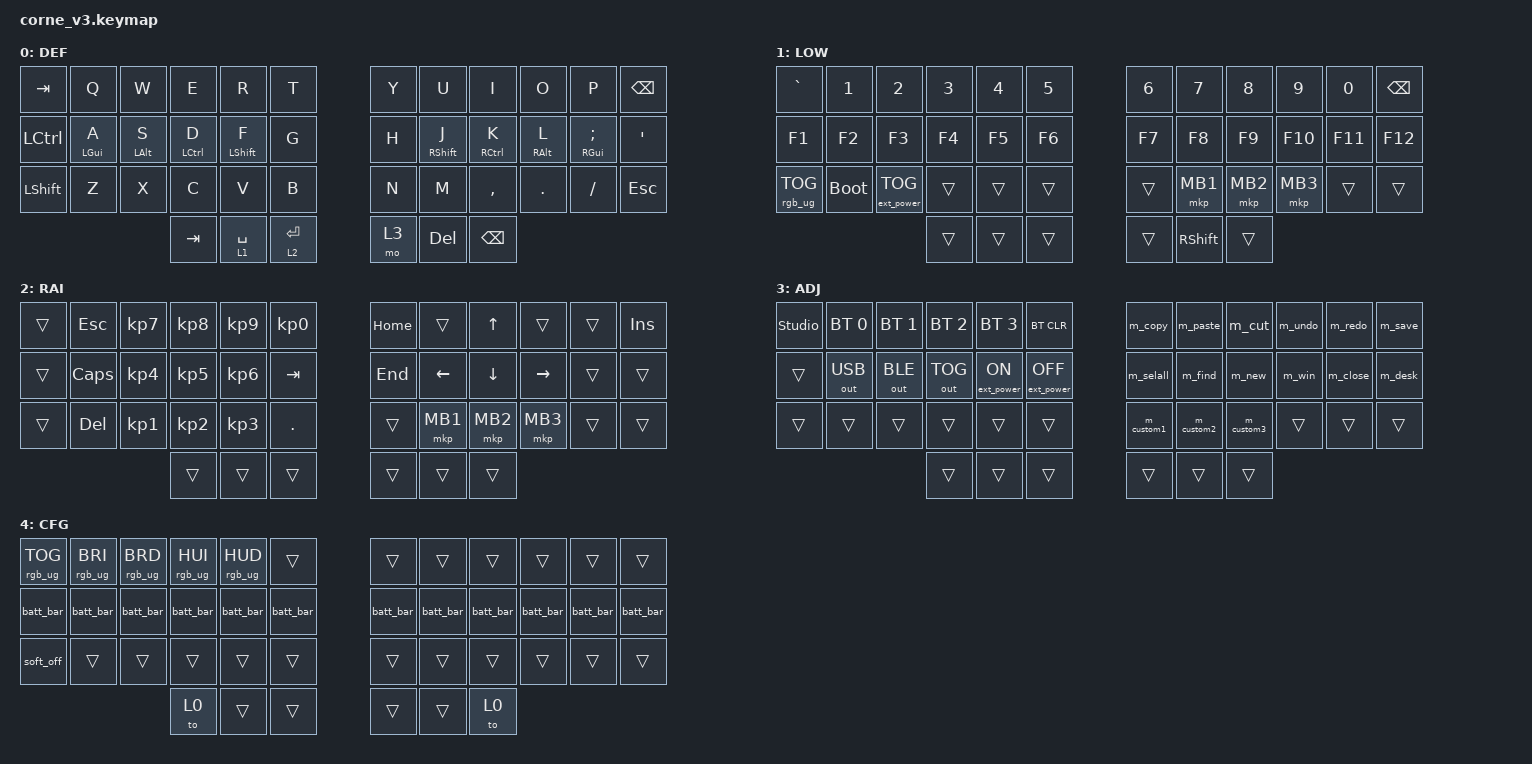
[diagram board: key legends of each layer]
/*
 * Copyright (c) 2020 The ZMK Contributors
 *
 * SPDX-License-Identifier: MIT
 */

#include <behaviors.dtsi>
#include <dt-bindings/zmk/bt.h>
#include <dt-bindings/zmk/keys.h>
#include <dt-bindings/zmk/rgb.h>
#include <dt-bindings/zmk/ext_power.h>
#include <dt-bindings/zmk/mouse.h>
#include <dt-bindings/zmk/outputs.h>

/ {
    behaviors {
        hm: homerow_mods {
            compatible = "zmk,behavior-hold-tap";
            label = "HOMEROW_MODS";
            #binding-cells = <2>;
            tapping-term-ms = <200>;
            quick_tap_ms = <0>;
            flavor = "tap-preferred";
            bindings = <&kp>, <&kp>;

            quick-tap-ms = <180>;
            global-quick-tap;
        };

        ltq: ltq {
            compatible = "zmk,behavior-hold-tap";
            label = "LTQ";
            bindings = <&mo>, <&kp>;

            #binding-cells = <2>;
            tapping-term-ms = <600>;
            global-quick-tap;
            quick-tap-ms = <400>;
        };

        /* Local battery % as green middle-row LED bar (map in batt_bar.c). */
        batt_bar: batt_bar {
            compatible = "corne,behavior-batt-bar";
            #binding-cells = <0>;
            hold-ms = <2500>;
        };

        /* Central→right: layer/USB/BTn + ACTIVE (wakes right idle; poke only on right) */
        st_sync: st_sync {
            compatible = "corne,behavior-status-sync";
            #binding-cells = <1>;
        };
    };

    /*
     * ADJ right-half macros — edit bindings here, then flash LEFT.
     * Guide: docs/12-macros.md
     */
    macros {
        m_copy: m_copy {
            compatible = "zmk,behavior-macro";
            #binding-cells = <0>;
            bindings
                = <&macro_press &kp LCTRL>
                , <&macro_tap &kp C>
                , <&macro_release &kp LCTRL>
                ;
        };
        m_paste: m_paste {
            compatible = "zmk,behavior-macro";
            #binding-cells = <0>;
            bindings
                = <&macro_press &kp LCTRL>
                , <&macro_tap &kp V>
                , <&macro_release &kp LCTRL>
                ;
        };
        m_cut: m_cut {
            compatible = "zmk,behavior-macro";
            #binding-cells = <0>;
            bindings
                = <&macro_press &kp LCTRL>
                , <&macro_tap &kp X>
                , <&macro_release &kp LCTRL>
                ;
        };
        m_undo: m_undo {
            compatible = "zmk,behavior-macro";
            #binding-cells = <0>;
            bindings
                = <&macro_press &kp LCTRL>
                , <&macro_tap &kp Z>
                , <&macro_release &kp LCTRL>
                ;
        };
        m_redo: m_redo {
            compatible = "zmk,behavior-macro";
            #binding-cells = <0>;
            bindings
                = <&macro_press &kp LCTRL>
                , <&macro_press &kp LSHFT>
                , <&macro_tap &kp Z>
                , <&macro_release &kp LSHFT>
                , <&macro_release &kp LCTRL>
                ;
        };
        m_save: m_save {
            compatible = "zmk,behavior-macro";
            #binding-cells = <0>;
            bindings
                = <&macro_press &kp LCTRL>
                , <&macro_tap &kp S>
                , <&macro_release &kp LCTRL>
                ;
        };
        m_selall: m_selall {
            compatible = "zmk,behavior-macro";
            #binding-cells = <0>;
            bindings
                = <&macro_press &kp LCTRL>
                , <&macro_tap &kp A>
                , <&macro_release &kp LCTRL>
                ;
        };
        m_find: m_find {
            compatible = "zmk,behavior-macro";
            #binding-cells = <0>;
            bindings
                = <&macro_press &kp LCTRL>
                , <&macro_tap &kp F>
                , <&macro_release &kp LCTRL>
                ;
        };
        m_new: m_new {
            compatible = "zmk,behavior-macro";
            #binding-cells = <0>;
            bindings
                = <&macro_press &kp LCTRL>
                , <&macro_tap &kp N>
                , <&macro_release &kp LCTRL>
                ;
        };
        m_win: m_win {
            compatible = "zmk,behavior-macro";
            #binding-cells = <0>;
            bindings
                = <&macro_press &kp LGUI>
                , <&macro_tap &kp TAB>
                , <&macro_release &kp LGUI>
                ;
        };
        m_close: m_close {
            compatible = "zmk,behavior-macro";
            #binding-cells = <0>;
            bindings
                = <&macro_press &kp LALT>
                , <&macro_tap &kp F4>
                , <&macro_release &kp LALT>
                ;
        };
        m_desk: m_desk {
            compatible = "zmk,behavior-macro";
            #binding-cells = <0>;
            bindings
                = <&macro_press &kp LGUI>
                , <&macro_tap &kp D>
                , <&macro_release &kp LGUI>
                ;
        };
        /* Placeholders — replace bindings with your own (see docs/12-macros.md) */
        m_custom1: m_custom1 {
            compatible = "zmk,behavior-macro";
            #binding-cells = <0>;
            bindings = <&macro_tap &kp F13>;
        };
        m_custom2: m_custom2 {
            compatible = "zmk,behavior-macro";
            #binding-cells = <0>;
            bindings = <&macro_tap &kp F14>;
        };
        m_custom3: m_custom3 {
            compatible = "zmk,behavior-macro";
            #binding-cells = <0>;
            bindings = <&macro_tap &kp F15>;
        };
    };

    combos {
        compatible = "zmk,combos";

        left_bkt {
            bindings = <&kp LEFT_BRACKET>;
            key-positions = <4 3>;
            timeout-ms = <50>;
        };

        right_bkt {
            bindings = <&kp RBKT>;
            key-positions = <7 8>;
            timeout-ms = <50>;
        };

        left_par {
            bindings = <&kp LEFT_PARENTHESIS>;
            key-positions = <15 16>;
            timeout-ms = <50>;
        };

        right_par {
            bindings = <&kp RIGHT_PARENTHESIS>;
            key-positions = <19 20>;
            timeout-ms = <50>;
        };

        left_brace {
            bindings = <&kp LEFT_BRACE>;
            key-positions = <27 28>;
            timeout-ms = <50>;
        };

        right_brace {
            bindings = <&kp RIGHT_BRACE>;
            key-positions = <32 31>;
            timeout-ms = <50>;
        };

        bac {
            bindings = <&kp BACKSLASH>;
            key-positions = <5 6>;
        };

        pipe {
            bindings = <&kp PIPE>;
            key-positions = <17 18>;
        };

        /*
         * CFG layer: outer thumbs on both halves (positions 36 + 41).
         * Same combo toggles CFG off. Hard to hit by accident.
         */
        cfg_combo {
            bindings = <&tog 4>;
            key-positions = <36 41>;
            timeout-ms = <120>;
        };

        /*
         * RAI sticky toggle (like CFG): Enter thumb (38) + pos 40 (DEL on DEF).
         * Momentary RAI still via &lt 2 ENTER.
         */
        rai_combo {
            bindings = <&tog 2>;
            key-positions = <38 40>;
            timeout-ms = <120>;
        };
    };

    keymap {
        compatible = "zmk,keymap";

        default_layer {
            display-name = "DEF";
            bindings = <
&kp TAB    &kp Q           &kp W           &kp E        &kp R             &kp T        &kp Y  &kp U             &kp I          &kp O            &kp P               &kp BSPC
&kp LCTRL  &hm LEFT_GUI A  &hm LEFT_ALT S  &hm LCTRL D  &hm LEFT_SHIFT F  &kp G        &kp H  &hm RSHIFT J      &hm RCTRL K    &hm RIGHT_ALT L  &hm RGUI SEMICOLON  &kp SQT
&kp LSHFT  &kp Z           &kp X           &kp C        &kp V             &kp B        &kp N  &kp M             &kp COMMA      &kp DOT          &kp FSLH            &kp ESC
                                           &kp TAB      &lt 1 SPACE       &lt 2 ENTER  &mo 3  &kp DELETE        &kp BACKSPACE
            >;
        };

        lower_layer {
            display-name = "LOW";
            /* Top: grave above F1; middle: F1–F12; under F1: RGB_TOG */
            bindings = <
&kp GRAVE  &kp N1  &kp N2  &kp N3  &kp N4  &kp N5   &kp N6  &kp N7  &kp N8  &kp N9  &kp N0  &kp BSPC
&kp F1     &kp F2  &kp F3  &kp F4  &kp F5  &kp F6   &kp F7  &kp F8  &kp F9  &kp F10 &kp F11 &kp F12
&rgb_ug RGB_TOG  &bootloader  &ext_power EP_TOG  &trans  &trans  &trans
    &trans  &mkp MB1  &mkp MB2  &mkp MB3  &trans  &trans
                             &trans  &trans  &trans   &trans  &kp RIGHT_SHIFT  &trans
            >;
        };

        raise_layer {
            display-name = "RAI";
            /* Hold Enter = momentary; combo 38+40 = sticky. Pos 11 = Insert.
             * Trackball scrolls on this layer (corne_v3_left.overlay). */
            bindings = <
&trans  &kp ESC     &kp KP_NUMBER_7  &kp KP_NUMBER_8  &kp KP_NUMBER_9  &kp KP_NUMBER_0  &kp HOME  &trans    &kp UP    &trans     &trans  &kp INSERT
&trans  &kp CAPS    &kp KP_NUMBER_4  &kp KP_NUMBER_5  &kp KP_NUMBER_6  &kp TAB           &kp END   &kp LEFT  &kp DOWN  &kp RIGHT  &trans  &trans
&trans  &kp DELETE  &kp KP_NUMBER_1  &kp KP_NUMBER_2  &kp KP_NUMBER_3  &kp DOT          &trans    &mkp MB1  &mkp MB2  &mkp MB3   &trans  &trans
                                     &trans           &trans           &trans           &trans    &trans    &trans
            >;
        };

        layer_3 {
            display-name = "ADJ";
            /* Left: BT/USB/power/Studio. Right: macros (docs/12-macros.md). */
            bindings = <
&studio_unlock  &bt BT_SEL 0  &bt BT_SEL 1  &bt BT_SEL 2  &bt BT_SEL 3  &bt BT_CLR
    &m_copy  &m_paste  &m_cut  &m_undo  &m_redo  &m_save
&trans  &out OUT_USB  &out OUT_BLE  &out OUT_TOG  &ext_power EP_ON  &ext_power EP_OFF
    &m_selall  &m_find  &m_new  &m_win  &m_close  &m_desk
&trans  &trans  &trans  &trans  &trans  &trans
    &m_custom1  &m_custom2  &m_custom3  &trans  &trans  &trans
                                    &trans  &trans  &trans
    &trans  &trans  &trans
            >;
        };

        /*
         * CFG — RGB on/off + brightness + hue, battery bar, soft-off.
         * Enter/exit: outer thumbs together (combo 36+41), or thumb &to 0.
         * Middle row: &batt_bar — green LED bar = this half's battery %.
         */
        cfg_layer {
            display-name = "CFG";
            bindings = <
&rgb_ug RGB_TOG  &rgb_ug RGB_BRI  &rgb_ug RGB_BRD  &rgb_ug RGB_HUI  &rgb_ug RGB_HUD  &trans
    &trans  &trans  &trans  &trans  &trans  &trans
&batt_bar  &batt_bar  &batt_bar  &batt_bar  &batt_bar  &batt_bar
    &batt_bar  &batt_bar  &batt_bar  &batt_bar  &batt_bar  &batt_bar
&soft_off  &trans  &trans  &trans  &trans  &trans
    &trans  &trans  &trans  &trans  &trans  &trans
                             &to 0  &trans  &trans   &trans     &trans  &to 0
            >;
        };

        /* Extra empty layers for ZMK Studio (ignored unless Studio build) */
        studio_extra1 {
            status = "reserved";
        };
        studio_extra2 {
            status = "reserved";
        };
    };
};
